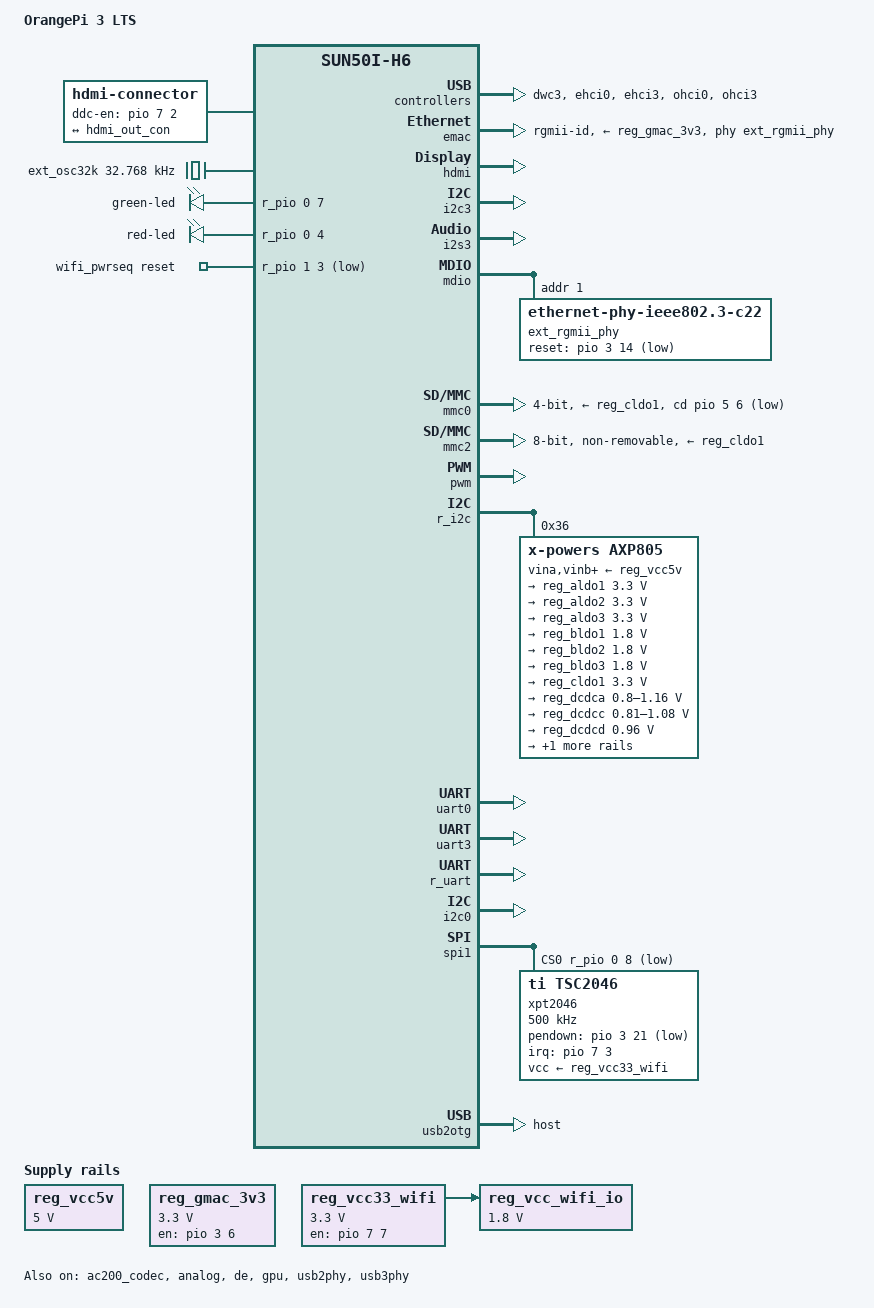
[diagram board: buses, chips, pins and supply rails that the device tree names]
// SPDX-License-Identifier: (GPL-2.0+ OR MIT)
// Copyright (C) 2023 Jernej Skrabec <jernej.skrabec@gmail.com>
// Copyright (C) 2019 Ondřej Jirman <megous@megous.com>

/dts-v1/;

#include "allwinner/sun50i-h6.dtsi"
#include "allwinner/sun50i-h6-cpu-opp.dtsi"
#include "allwinner/sun50i-h6-gpu-opp.dtsi"

#include <dt-bindings/gpio/gpio.h>

/ {
	model = "OrangePi 3 LTS";
	compatible = "xunlong,orangepi-3-lts", "allwinner,sun50i-h6";

	aliases {
		ethernet0 = &emac;
		serial0 = &uart0;	/* Debug console */
		serial1 = &uart3;	/* MDA interface */
		serial2 = &r_uart;	/* MDA controller */
		mmc0 = &mmc2;		/* eMMC    */
		mmc1 = &mmc0;		/* SD-Card */
	};

	chosen {
		stdout-path = "serial0:115200n8";
	};

	connector {
		compatible = "hdmi-connector";
		ddc-en-gpios = <&pio 7 2 GPIO_ACTIVE_HIGH>; /* PH2 */
		type = "a";

		port {
			hdmi_con_in: endpoint {
				remote-endpoint = <&hdmi_out_con>;
			};
		};
	};

	ext_osc32k: ext_osc32k_clk {
		#clock-cells = <0>;
		compatible = "fixed-clock";
		clock-frequency = <32768>;
		clock-output-names = "ext_osc32k";
	};

	leds {
		compatible = "gpio-leds";

		status {
			label = "green-led";
			gpios = <&r_pio 0 7 GPIO_ACTIVE_HIGH>; /* PL7 */
			default-state = "on";
		};

		power {
			label = "red-led";
			gpios = <&r_pio 0 4 GPIO_ACTIVE_HIGH>; /* PL4 */
		};
	};

	reg_vcc5v: vcc5v {
		/* board wide 5V supply directly from the DC jack */
		compatible = "regulator-fixed";
		regulator-name = "vcc-5v";
		regulator-min-microvolt = <5000000>;
		regulator-max-microvolt = <5000000>;
		regulator-always-on;
	};

	reg_gmac_3v3: gmac-3v3 {
		compatible = "regulator-fixed";
		regulator-name = "vcc-gmac-3v3";
		regulator-min-microvolt = <3300000>;
		regulator-max-microvolt = <3300000>;
		startup-delay-us = <150000>;
		gpio = <&pio 3 6 GPIO_ACTIVE_HIGH>;
		enable-active-high;
	};

	reg_vcc33_wifi: vcc33-wifi {
		/* Always on 3.3V regulator for WiFi and BT */
		compatible = "regulator-fixed";
		regulator-name = "vcc33-wifi";
		regulator-min-microvolt = <3300000>;
		regulator-max-microvolt = <3300000>;
		enable-active-high;
		gpio = <&pio 7 7 GPIO_ACTIVE_HIGH>; /* PH7 */
	};

	reg_vcc_wifi_io: vcc-wifi-io {
		/* Always on 1.8V/300mA regulator for WiFi and BT IO */
		compatible = "regulator-fixed";
		regulator-name = "vcc-wifi-io";
		regulator-min-microvolt = <1800000>;
		regulator-max-microvolt = <1800000>;
		regulator-always-on;
		vin-supply = <&reg_vcc33_wifi>;
	};

	wifi_pwrseq: wifi-pwrseq {
		compatible = "mmc-pwrseq-simple";
		clocks = <&rtc 1>;
		clock-names = "ext_clock";
		reset-gpios = <&r_pio 1 3 GPIO_ACTIVE_LOW>; /* PM3 */
		post-power-on-delay-ms = <200>;
	};
};

&ac200_codec {
	avcc-supply = <&reg_aldo2>;
	status = "okay";
};

&ac200_pwm_clk {
	status = "okay";
};

&analog {
	status = "okay";
};

&cpu0 {
	cpu-supply = <&reg_dcdca>;
};

&de {
	status = "okay";
};

&dwc3 {
	status = "okay";
};

&ehci0 {
	status = "okay";
};

&ehci3 {
	status = "okay";
};

&emac {
	pinctrl-names = "default";
	pinctrl-0 = <&ext_rgmii_pins>;
	phy-mode = "rgmii-id";
	phy-handle = <&ext_rgmii_phy>;
	phy-supply = <&reg_gmac_3v3>;
	allwinner,rx-delay-ps = <200>;
	allwinner,tx-delay-ps = <300>;
	status = "okay";
};

&gpu {
	mali-supply = <&reg_dcdcc>;
	status = "okay";
};

&hdmi {
	hvcc-supply = <&reg_bldo2>;
	status = "okay";
};

&hdmi_out {
	hdmi_out_con: endpoint {
		remote-endpoint = <&hdmi_con_in>;
	};
};

&i2c3 {
	status = "okay";
};

&i2s3 {
	status = "okay";
};

&mdio {
	ext_rgmii_phy: ethernet-phy@1 {
		compatible = "ethernet-phy-ieee802.3-c22";
		reg = <1>;
		motorcomm,clk-out-frequency-hz = <125000000>;
		reset-gpios = <&pio 3 14 GPIO_ACTIVE_LOW>; /* PD14 */
		reset-assert-us = <15000>;
		reset-deassert-us = <40000>;
	};
};

&mmc0 {
	vmmc-supply = <&reg_cldo1>;
	cd-gpios = <&pio 5 6 GPIO_ACTIVE_LOW>; /* PF6 */
	bus-width = <4>;
	status = "okay";
};

&mmc2 {
	/* Fix compatible - no Armbian mmc patches applyed */
	compatible = "allwinner,sun50i-h6-emmc",
		     "allwinner,sun50i-a64-emmc";
	vmmc-supply = <&reg_cldo1>; /* cldo2, cldo3 shorted to VCC33-WIFI page 14 */
	vqmmc-supply = <&reg_bldo2>; /* aldo1, bldo3 shorted to VCC-WIFI-IO page 14 */
	bus-width = <8>;
	non-removable;
	cap-mmc-hw-reset;
	mmc-hs200-1_8v;
	status = "okay";
};

&ohci0 {
	status = "okay";
};

&ohci3 {
	status = "okay";
};

&pio {
	vcc-pc-supply = <&reg_bldo2>;
	vcc-pd-supply = <&reg_cldo1>;
	vcc-pg-supply = <&reg_bldo3>;
	vcc-pl-supply = <&reg_aldo1>;
	vcc-pm-supply = <&reg_bldo3>;
};

&pwm {
	status = "okay";
};

&r_i2c {
	status = "okay";

	axp805: pmic@36 {
		compatible = "x-powers,axp805", "x-powers,axp806";
		reg = <0x36>;
		interrupt-parent = <&r_intc>;
		interrupts = <GIC_SPI 96 IRQ_TYPE_LEVEL_LOW>;
		interrupt-controller;
		#interrupt-cells = <1>;
		x-powers,self-working-mode;
		vina-supply = <&reg_vcc5v>;
		vinb-supply = <&reg_vcc5v>;
		vinc-supply = <&reg_vcc5v>;
		vind-supply = <&reg_vcc5v>;
		vine-supply = <&reg_vcc5v>;
		aldoin-supply = <&reg_vcc5v>;
		bldoin-supply = <&reg_vcc5v>;
		cldoin-supply = <&reg_vcc5v>;

		regulators {
			reg_aldo1: aldo1 {
				regulator-always-on;
				regulator-min-microvolt = <3300000>;
				regulator-max-microvolt = <3300000>;
				regulator-name = "vcc-pl-led-ir";
			};

			reg_aldo2: aldo2 {
				regulator-always-on;
				regulator-min-microvolt = <3300000>;
				regulator-max-microvolt = <3300000>;
				regulator-name = "vcc33-audio-tv-ephy-mac";
				regulator-enable-ramp-delay = <100000>;
			};

			/* ALDO3 is shorted to CLDO1 - use fixed 3,3V mode */
			reg_aldo3: aldo3 {
				regulator-always-on;
				regulator-min-microvolt = <3300000>;
				regulator-max-microvolt = <3300000>;
				regulator-name = "vcc33-io-pd-emmc-sd-usb-uart-1";
			};

			reg_bldo1: bldo1 {
				regulator-always-on;
				regulator-min-microvolt = <1800000>;
				regulator-max-microvolt = <1800000>;
				regulator-name = "vcc18-dram-bias-pll";
			};

			reg_bldo2: bldo2 {
				regulator-always-on;
				regulator-min-microvolt = <1800000>;
				regulator-max-microvolt = <1800000>;
				regulator-name = "vcc-efuse-pcie-hdmi-pc";
			};

			reg_bldo3: bldo3 {
				regulator-always-on;
				regulator-min-microvolt = <1800000>;
				regulator-max-microvolt = <1800000>;
				regulator-name = "vcc-pm-pg-dcxoio-wifi";
			};

			bldo4 {
				/* unused */
			};

			reg_cldo1: cldo1 {
				regulator-always-on;
				regulator-min-microvolt = <3300000>;
				regulator-max-microvolt = <3300000>;
				regulator-name = "vcc33-io-pd-emmc-sd-usb-uart-2";
			};

			cldo2 {
				/* unused */
			};

			cldo3 {
				/* unused */
			};

			reg_dcdca: dcdca {
				regulator-always-on;
				regulator-min-microvolt = <800000>;
				regulator-max-microvolt = <1160000>;
				regulator-ramp-delay = <2500>;
				regulator-name = "vdd-cpu";
			};

			reg_dcdcc: dcdcc {
				regulator-enable-ramp-delay = <32000>;
				regulator-min-microvolt = <810000>;
				regulator-max-microvolt = <1080000>;
				regulator-ramp-delay = <2500>;
				regulator-name = "vdd-gpu";
			};

			reg_dcdcd: dcdcd {
				regulator-always-on;
				regulator-min-microvolt = <960000>;
				regulator-max-microvolt = <960000>;
				regulator-name = "vdd-sys";
			};

			reg_dcdce: dcdce {
				regulator-always-on;
				regulator-min-microvolt = <1200000>;
				regulator-max-microvolt = <1200000>;
				regulator-name = "vcc-dram";
			};

			sw {
				/* unused */
			};
		};
	};
};

&rtc {
	clocks = <&ext_osc32k>;
};

&uart0 { /* Dedicated debug UART */
	pinctrl-names = "default";
	pinctrl-0 = <&uart0_ph_pins>;
	status = "okay";
};

&uart3 { /* PD23 TX, PD24 RX or pins 11 and 9 of 26pin connector */
	pinctrl-names = "default";
	pinctrl-0 = <&uart3_pins>;
	status = "okay";
};

&r_uart { /* PL2 TX, PL3 RX or pins 8 and 10 of 26pin connector */
	status = "okay";
};

&i2c0 { /* PD25 SCK, PD26 SDA or pin 5 and 3 of 26pin connector */
	status = "okay";
};

/*
 * WARNING!
 * 26pin header SPI interface use non standart layout! 
 *
 * PH3 default SPI1 CS, but only PB, PF, PG and PH can
 * trigger interrupt on 26-pin compatible connector.
 * We use PL8 as SPI1 GPI CS, and PH3 as interrupt source.
 * Require hardware short-circuit from 24 and 22 pins.
 */

&spi1 {
	pinctrl-names = "default";
	pinctrl-0 = <&spi1_pins>;
	cs-gpios = <&r_pio 0 8 GPIO_ACTIVE_LOW>;	/* CS0 - PL8 */
	num-cs = <1>;
	status = "okay";
	#address-cells = <1>;
	#size-cells = <0>;

	xpt2046@0 {
		reg = <0>;	/* CS0 */
		spi-max-frequency = <500000>;
		interrupt-parent = <&pio>;
		interrupt-names = "ts-irq";
		interrupts = <7 3 IRQ_TYPE_LEVEL_LOW>; /* PD21 connected to CS0 */
		pendown-gpio = <&pio 3 21 GPIO_ACTIVE_LOW>;
		compatible = "ti,tsc2046";
		vcc-supply = <&reg_vcc33_wifi>;

		/* Generic tuning */
		touchscreen-average-samples = <100>;
		/* Vendor specific tuning */
		ti,x-plate-ohms = /bits/ 16 <60>;
		ti,debounce-tol = /bits/ 16 <2>;
		ti,debounce-rep = /bits/ 16 <1>;
		ti,settle-delay-usec = /bits/ 16 <20>;
		ti,penirq-recheck-delay-usecs = /bits/ 16 <20>;

		status = "okay";
	};
};


&usb2otg {
	/*
	 * This board doesn't have a controllable VBUS even though it
	 * does have an ID pin. Using it as anything but a USB host is
	 * unsafe.
	 */
	dr_mode = "host";
	status = "okay";
};

&usb2phy {
	usb0_id_det-gpios = <&pio 2 15 GPIO_ACTIVE_HIGH>; /* PC15 */
	usb0_vbus-supply = <&reg_vcc5v>;
	usb3_vbus-supply = <&reg_vcc5v>;
	status = "okay";
};

&usb3phy {
	status = "okay";
};
